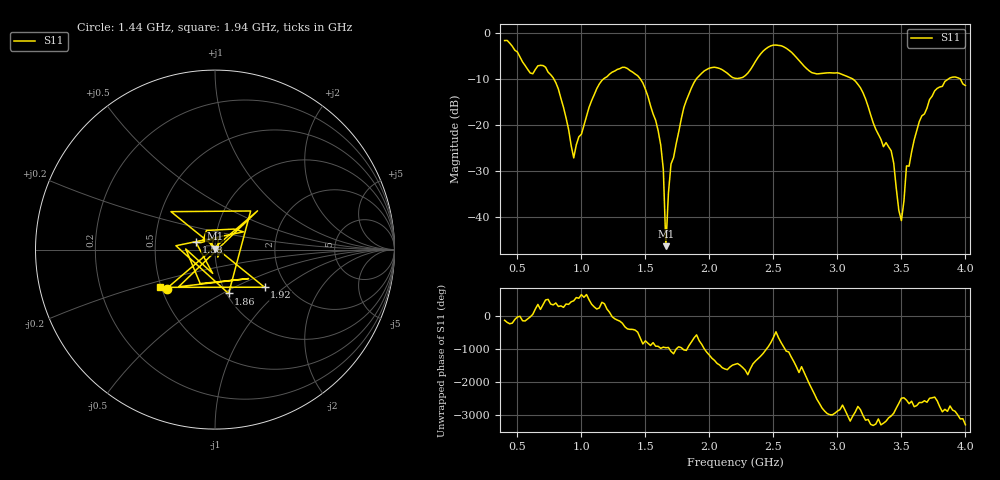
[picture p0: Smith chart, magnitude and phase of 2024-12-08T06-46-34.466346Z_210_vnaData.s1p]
!Created with skrf (http://scikit-rf.org).
# Hz S RI R 50.0
!freq ReS11 ImS11
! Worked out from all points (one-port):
!   181 points, 400 MHz to 4 GHz, reference 50 ohm
!   lowest |S11| = -46.3 dB at 1.66 GHz (marker M1), VSWR 1.01, Z = 49.8 + j0.446 ohm
!   |S11| at or under -10 dB: 786.5 MHz to 1.169 GHz (382.6 MHz wide, 39.1 % of centre); 1.463 GHz to 1.895 GHz (432.6 MHz wide, 25.8 % of centre); 3.124 GHz to 3.863 GHz (738.6 MHz wide, 21.1 % of centre) (the widest 3 of 4)
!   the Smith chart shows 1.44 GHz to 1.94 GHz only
!   S11 on the Smith chart (normalised r, x): 1.44 GHz: 0.53, -0.26; 1.58 GHz: 0.81, +0.07; 1.86 GHz: 1.02, -0.54; 1.92 GHz: 1.55, -0.74; 1.94 GHz: 0.50, -0.24
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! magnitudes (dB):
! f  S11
! 400 MHz  -1.5
! 600 MHz  -8.6
! 720 MHz  -7.3
! 860 MHz  -16.1
! 940 MHz  -27.1
! 1.12 GHz  -12.0
! 1.3 GHz  -7.7
! 1.44 GHz  -9.2
! 1.58 GHz  -18.9
! 1.64 GHz  -29.6
! 1.66 GHz  -46.3
! 1.68 GHz  -34.7
! 1.7 GHz  -28.4
! 1.76 GHz  -21.5
! 1.86 GHz  -11.8
! 1.92 GHz  -9.2
! 1.94 GHz  -8.6
! 2.2 GHz  -9.8
! 2.48 GHz  -2.7
! 2.66 GHz  -4.6
! 3.1 GHz  -9.6
! 3.42 GHz  -25.5
! 3.5 GHz  -40.8
! 3.54 GHz  -28.8
! 3.56 GHz  -28.9
! 3.64 GHz  -19.2
! 3.76 GHz  -12.5
! 4 GHz  -11.3
